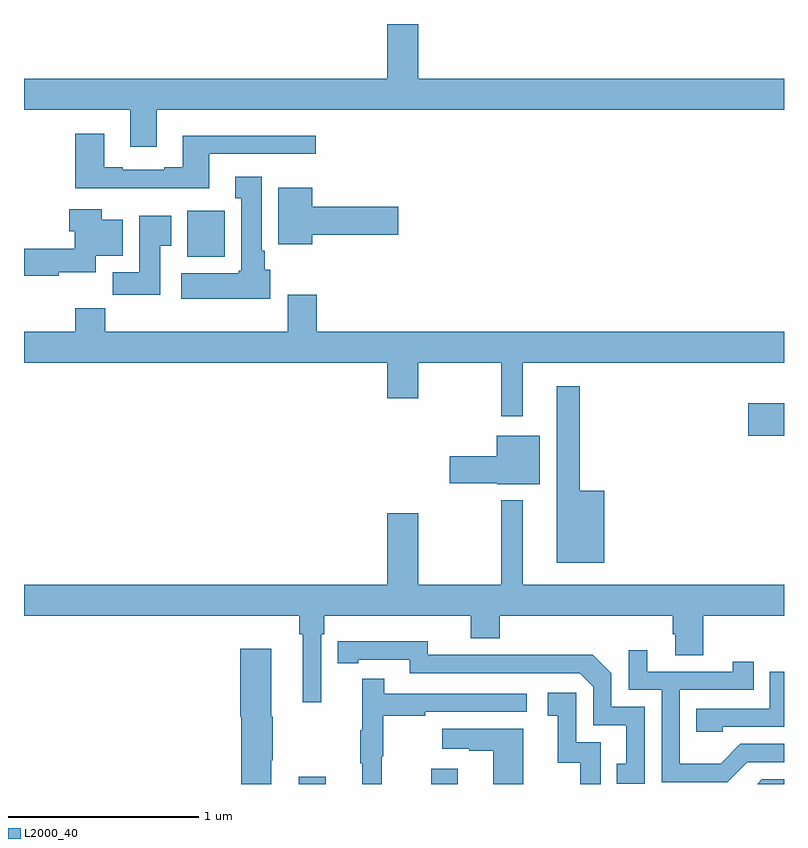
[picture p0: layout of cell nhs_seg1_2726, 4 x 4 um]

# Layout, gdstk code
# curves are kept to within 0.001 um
import gdstk
lib = gdstk.Library(unit=1e-6, precision=1e-09)
def R(c, l, rs):  # rectangles x0, y0, x1, y1
    for r in rs: c.add(gdstk.rectangle(r[:2], r[2:], *l))
def P(c, l, *ps):  # polygons
    for p in ps: c.add(gdstk.Polygon(p, *l))
L2000_40 = (2000, 40)

nhs_seg1_2726 = lib.new_cell('nhs_seg1_2726')
R(nhs_seg1_2726, L2000_40, [(260.447,532.199,260.587,532.237), (261.143,532.199,261.283,532.279), (262.812,534.032,263,534.202), (259.859,534.974,260.056,535.216)])
P(nhs_seg1_2726, L2000_40, [(259.699,535.748),(263,535.748),(263,535.912),(261.076,535.912),(261.076,536.199),(260.912,536.199),(260.912,535.912),(259,535.912),(259,535.748),(259.559,535.748),(259.559,535.554),(259.699,535.554)],
  [(259.975,535.515),(260.536,535.515),(260.536,535.612),(259.835,535.612),(259.835,535.444),(259.739,535.444),(259.739,535.431),(259.519,535.431),(259.519,535.444),(259.423,535.444),(259.423,535.621),(259.271,535.621),(259.271,535.334),(259.975,535.334)],
  [(260.296,534.906),(260.266,534.906),(260.266,535.006),(260.251,535.006),(260.251,535.396),(260.111,535.396),(260.111,535.283),(260.144,535.283),(260.144,534.9),(260.131,534.9),(260.131,534.886),(259.827,534.886),(259.827,534.752),(260.296,534.752)],
  [(260.518,535.091),(260.971,535.091),(260.971,535.238),(260.518,535.238),(260.518,535.336),(260.339,535.336),(260.339,535.04),(260.518,535.04)],
  [(259.182,534.893),(259.378,534.893),(259.378,534.98),(259.519,534.98),(259.519,535.168),(259.408,535.168),(259.408,535.225),(259.238,535.225),(259.238,535.107),(259.268,535.107),(259.268,535.016),(259,535.016),(259,534.874),(259.182,534.874)],
  [(259.717,535.033),(259.774,535.033),(259.774,535.189),(259.607,535.189),(259.607,534.892),(259.468,534.892),(259.468,534.774),(259.717,534.774)],
  [(261.625,534.416),(263,534.416),(263,534.58),(260.54,534.58),(260.54,534.775),(260.387,534.775),(260.387,534.58),(259.427,534.58),(259.427,534.704),(259.271,534.704),(259.271,534.58),(259,534.58),(259,534.416),(260.912,534.416),(260.912,534.228),(261.076,534.228),(261.076,534.416),(261.511,534.416),(261.511,534.135),(261.625,534.135)],
  [(262.054,533.743),(261.925,533.743),(261.925,534.292),(261.803,534.292),(261.803,533.363),(262.054,533.363)],
  [(261.715,534.031),(261.488,534.031),(261.488,533.925),(261.24,533.925),(261.24,533.783),(261.492,533.783),(261.492,533.777),(261.715,533.777)],
  [(259,533.084),(260.449,533.084),(260.449,532.988),(260.468,532.988),(260.468,532.629),(260.565,532.629),(260.565,532.988),(260.579,532.988),(260.579,533.084),(261.35,533.084),(261.35,532.967),(261.503,532.967),(261.503,533.084),(262.415,533.084),(262.415,532.986),(262.427,532.986),(262.427,532.876),(262.575,532.876),(262.575,533.084),(263,533.084),(263,533.248),(261.625,533.248),(261.625,533.692),(261.511,533.692),(261.511,533.248),(261.076,533.248),(261.076,533.623),(260.912,533.623),(260.912,533.248),(259,533.248)],
  [(262.266,532.605),(262.092,532.605),(262.092,532.782),(261.994,532.88),(261.586,532.88),(261.586,532.878),(261.126,532.878),(261.126,532.951),(260.65,532.95),(260.65,532.834),(260.758,532.834),(260.758,532.854),(261.03,532.854),(261.03,532.782),(261.924,532.782),(261.996,532.71),(261.996,532.509),(262.169,532.509),(262.169,532.305),(262.12,532.305),(262.12,532.2),(262.266,532.2)],
  [(260.302,532.324),(260.31,532.324),(260.31,532.554),(260.302,532.554),(260.302,532.912),(260.138,532.912),(260.138,532.554),(260.144,532.554),(260.144,532.199),(260.302,532.199)],
  [(262.807,532.314),(263,532.314),(263,532.41),(262.77,532.41),(262.666,532.306),(262.452,532.306),(262.452,532.695),(262.841,532.695),(262.841,532.843),(262.73,532.843),(262.73,532.791),(262.279,532.791),(262.279,532.903),(262.182,532.903),(262.182,532.695),(262.356,532.695),(262.356,532.209),(262.702,532.209)],
  [(262.677,532.5),(263,532.5),(263,532.791),(262.926,532.791),(262.926,532.596),(262.537,532.596),(262.537,532.473),(262.677,532.473)],
  [(260.882,532.344),(260.89,532.344),(260.89,532.558),(261.113,532.558),(261.113,532.578),(261.646,532.578),(261.646,532.674),(260.897,532.674),(260.897,532.753),(260.779,532.753),(260.779,532.481),(260.769,532.481),(260.769,532.307),(260.779,532.307),(260.779,532.199),(260.882,532.199)],
  [(262.035,532.419),(261.906,532.419),(261.906,532.678),(261.756,532.678),(261.756,532.557),(261.809,532.557),(261.809,532.311),(261.927,532.311),(261.927,532.199),(262.035,532.199)],
  [(261.628,532.489),(261.201,532.489),(261.201,532.385),(261.344,532.385),(261.344,532.375),(261.47,532.375),(261.47,532.199),(261.628,532.199)],
  [(263,532.224),(262.884,532.224),(262.859,532.199),(263,532.199)])

lib.write_gds('nhs_seg1_2726.gds')
